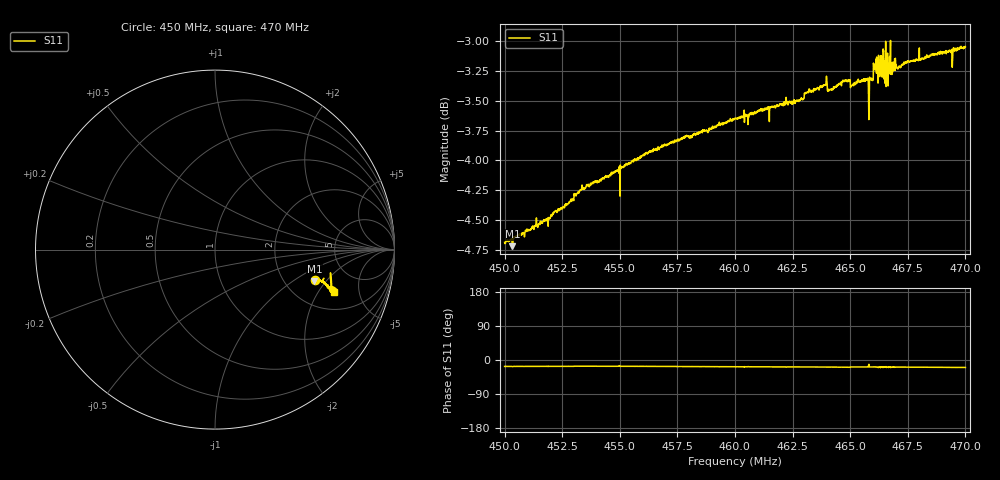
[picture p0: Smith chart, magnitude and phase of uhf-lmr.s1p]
! Calibrated averaged scanner-service zoom
# Hz S RI R 50
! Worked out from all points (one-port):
!   2001 points, 450 MHz to 470 MHz, reference 50 ohm
!   lowest |S11| = -4.7 dB at 450.34 MHz (marker M1), VSWR 3.77, Z = 144 - j76.1 ohm
!   |S11| at or under -10 dB: nowhere
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4.5e8  0.5575 -0.17
4.5034e8  0.5539 -0.1747
4.525e8  0.5765 -0.1736
4.5333e8  0.5883 -0.1728
4.548e8  0.5983 -0.1786
4.55e8  0.6008 -0.1791
4.5512e8  0.6007 -0.1797
4.575e8  0.6144 -0.1898
4.6e8  0.6261 -0.2
4.625e8  0.6338 -0.2097
4.629e8  0.6355 -0.2112
4.639e8  0.6434 -0.2157
4.6411e8  0.6402 -0.2159
4.649e8  0.6439 -0.2237
4.65e8  0.6437 -0.2247
4.6511e8  0.6445 -0.2145
4.6568e8  0.6474 -0.2152
4.6573e8  0.6478 -0.2158
4.6589e8  0.6472 -0.2161
4.6594e8  0.6476 -0.2155
4.661e8  0.6584 -0.2163
4.6622e8  0.6498 -0.2367
4.6644e8  0.6615 -0.2326
4.6655e8  0.653 -0.2056
4.6666e8  0.6478 -0.2333
4.6714e8  0.6547 -0.2216
4.675e8  0.6575 -0.2244
4.7e8  0.663 -0.2375
